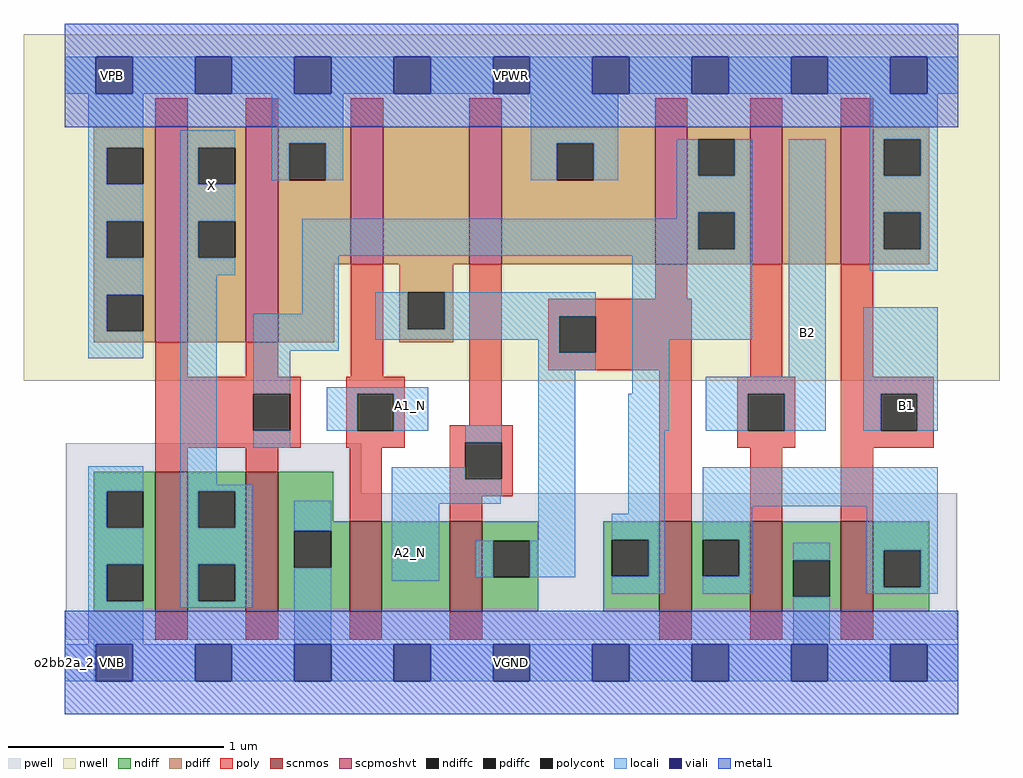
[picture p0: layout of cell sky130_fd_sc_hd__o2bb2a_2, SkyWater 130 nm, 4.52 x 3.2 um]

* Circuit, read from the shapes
.subckt sky130_fd_sc_hd__o2bb2a_2 A1_N A2_N B1 B2 VGND VNB VPB VPWR X
XM1 X n1 VGND VNB sky130_fd_pr__nfet_01v8 w=0.65 l=0.15 m=2
XM2 n2 A1_N VGND VNB sky130_fd_pr__nfet_01v8 w=0.42 l=0.15
XM3 n3 A2_N n2 VNB sky130_fd_pr__nfet_01v8 w=0.42 l=0.15
XM4 n4 n3 n1 VNB sky130_fd_pr__nfet_01v8 w=0.42 l=0.15
XM5 VGND B2 n4 VNB sky130_fd_pr__nfet_01v8 w=0.42 l=0.15
XM6 n4 B1 VGND VNB sky130_fd_pr__nfet_01v8 w=0.42 l=0.15
XM7 X n1 VPWR VPB sky130_fd_pr__pfet_01v8_hvt w=1 l=0.15 m=2
XM8 n3 A1_N VPWR VPB sky130_fd_pr__pfet_01v8_hvt w=0.64 l=0.15
XM9 VPWR A2_N n3 VPB sky130_fd_pr__pfet_01v8_hvt w=0.64 l=0.15
XM10 n1 n3 VPWR VPB sky130_fd_pr__pfet_01v8_hvt w=0.64 l=0.15
XM11 n5 B2 n1 VPB sky130_fd_pr__pfet_01v8_hvt w=0.64 l=0.15
XM12 VPWR B1 n5 VPB sky130_fd_pr__pfet_01v8_hvt w=0.64 l=0.15
.ends

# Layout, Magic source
magic
tech sky130B
magscale 1 2
<< nwell >>
rect -38 261 866 582
<< pwell >>
rect 1 157 275 203
rect 1 21 827 157
rect 27 -17 61 21
<< scnmos >>
rect 84 47 114 177
rect 168 47 198 177
rect 264 47 294 131
rect 357 47 387 131
rect 551 47 581 131
rect 635 47 665 131
rect 719 47 749 131
<< scpmoshvt >>
rect 84 297 114 497
rect 168 297 198 497
rect 265 369 295 497
rect 375 369 405 497
rect 547 369 577 497
rect 635 369 665 497
rect 719 369 749 497
<< ndiff >>
rect 27 159 84 177
rect 27 125 39 159
rect 73 125 84 159
rect 27 91 84 125
rect 27 57 39 91
rect 73 57 84 91
rect 27 47 84 57
rect 114 159 168 177
rect 114 125 124 159
rect 158 125 168 159
rect 114 91 168 125
rect 114 57 124 91
rect 158 57 168 91
rect 114 47 168 57
rect 198 131 249 177
rect 198 122 264 131
rect 198 88 213 122
rect 247 88 264 122
rect 198 47 264 88
rect 294 47 357 131
rect 387 113 439 131
rect 387 79 397 113
rect 431 79 439 113
rect 387 47 439 79
rect 499 114 551 131
rect 499 80 507 114
rect 541 80 551 114
rect 499 47 551 80
rect 581 114 635 131
rect 581 80 591 114
rect 625 80 635 114
rect 581 47 635 80
rect 665 95 719 131
rect 665 61 675 95
rect 709 61 719 95
rect 665 47 719 61
rect 749 104 801 131
rect 749 70 759 104
rect 793 70 801 104
rect 749 47 801 70
<< pdiff >>
rect 27 477 84 497
rect 27 443 39 477
rect 73 443 84 477
rect 27 409 84 443
rect 27 375 39 409
rect 73 375 84 409
rect 27 341 84 375
rect 27 307 39 341
rect 73 307 84 341
rect 27 297 84 307
rect 114 477 168 497
rect 114 443 124 477
rect 158 443 168 477
rect 114 409 168 443
rect 114 375 124 409
rect 158 375 168 409
rect 114 297 168 375
rect 198 481 265 497
rect 198 447 208 481
rect 242 447 265 481
rect 198 369 265 447
rect 295 369 375 497
rect 405 481 547 497
rect 405 447 456 481
rect 490 447 547 481
rect 405 369 547 447
rect 577 485 635 497
rect 577 451 587 485
rect 621 451 635 485
rect 577 417 635 451
rect 577 383 587 417
rect 621 383 635 417
rect 577 369 635 383
rect 665 369 719 497
rect 749 485 801 497
rect 749 451 759 485
rect 793 451 801 485
rect 749 417 801 451
rect 749 383 759 417
rect 793 383 801 417
rect 749 369 801 383
rect 198 297 250 369
rect 310 343 360 369
rect 310 309 318 343
rect 352 309 360 343
rect 310 297 360 309
<< ndiffc >>
rect 39 125 73 159
rect 39 57 73 91
rect 124 125 158 159
rect 124 57 158 91
rect 213 88 247 122
rect 397 79 431 113
rect 507 80 541 114
rect 591 80 625 114
rect 675 61 709 95
rect 759 70 793 104
<< pdiffc >>
rect 39 443 73 477
rect 39 375 73 409
rect 39 307 73 341
rect 124 443 158 477
rect 124 375 158 409
rect 208 447 242 481
rect 456 447 490 481
rect 587 451 621 485
rect 587 383 621 417
rect 759 451 793 485
rect 759 383 793 417
rect 318 309 352 343
<< poly >>
rect 84 497 114 523
rect 168 497 198 523
rect 265 497 295 523
rect 375 497 405 523
rect 547 497 577 523
rect 635 497 665 523
rect 719 497 749 523
rect 84 265 114 297
rect 168 265 198 297
rect 265 265 295 369
rect 84 249 219 265
rect 84 215 175 249
rect 209 215 219 249
rect 84 199 219 215
rect 261 249 315 265
rect 261 215 271 249
rect 305 215 315 249
rect 375 220 405 369
rect 547 337 577 369
rect 448 321 581 337
rect 448 287 458 321
rect 492 287 581 321
rect 448 271 581 287
rect 261 199 315 215
rect 357 204 415 220
rect 84 177 114 199
rect 168 177 198 199
rect 264 131 294 199
rect 357 170 371 204
rect 405 170 415 204
rect 357 154 415 170
rect 357 131 387 154
rect 551 131 581 271
rect 635 265 665 369
rect 719 265 749 369
rect 623 249 677 265
rect 623 215 633 249
rect 667 215 677 249
rect 623 199 677 215
rect 719 249 805 265
rect 719 215 756 249
rect 790 215 805 249
rect 719 199 805 215
rect 635 131 665 199
rect 719 131 749 199
rect 84 21 114 47
rect 168 21 198 47
rect 264 21 294 47
rect 357 21 387 47
rect 551 21 581 47
rect 635 21 665 47
rect 719 21 749 47
<< polycont >>
rect 175 215 209 249
rect 271 215 305 249
rect 458 287 492 321
rect 371 170 405 204
rect 633 215 667 249
rect 756 215 790 249
<< locali >>
rect 0 527 29 561
rect 63 527 121 561
rect 155 527 213 561
rect 247 527 305 561
rect 339 527 397 561
rect 431 527 489 561
rect 523 527 581 561
rect 615 527 673 561
rect 707 527 765 561
rect 799 527 828 561
rect 22 477 73 527
rect 22 443 39 477
rect 22 409 73 443
rect 22 375 39 409
rect 22 341 73 375
rect 22 307 39 341
rect 22 282 73 307
rect 107 477 158 493
rect 107 443 124 477
rect 192 481 258 527
rect 192 447 208 481
rect 242 447 258 481
rect 432 481 513 527
rect 746 485 809 527
rect 432 447 456 481
rect 490 447 513 481
rect 567 451 587 485
rect 621 451 637 485
rect 107 409 158 443
rect 567 417 637 451
rect 567 411 587 417
rect 107 375 124 409
rect 107 359 158 375
rect 220 383 587 411
rect 621 383 637 417
rect 220 377 637 383
rect 22 159 73 182
rect 22 125 39 159
rect 22 91 73 125
rect 22 57 39 91
rect 22 17 73 57
rect 107 165 141 359
rect 220 323 254 377
rect 175 289 254 323
rect 288 309 318 343
rect 352 321 492 343
rect 352 309 458 321
rect 288 299 458 309
rect 175 249 209 289
rect 439 287 458 299
rect 439 271 492 287
rect 526 299 637 377
rect 243 249 337 255
rect 243 215 271 249
rect 305 215 337 249
rect 175 199 209 215
rect 371 204 405 220
rect 303 170 371 181
rect 107 159 174 165
rect 107 125 124 159
rect 158 125 174 159
rect 303 154 405 170
rect 107 91 174 125
rect 107 57 124 91
rect 158 57 174 91
rect 107 51 174 57
rect 213 122 247 150
rect 213 17 247 88
rect 303 147 404 154
rect 303 76 347 147
rect 439 113 473 271
rect 526 249 560 299
rect 671 265 705 485
rect 746 451 759 485
rect 793 451 809 485
rect 746 417 809 451
rect 746 383 759 417
rect 793 383 809 417
rect 746 363 809 383
rect 522 215 560 249
rect 594 249 705 265
rect 594 215 633 249
rect 667 215 705 249
rect 740 249 809 329
rect 740 215 756 249
rect 790 215 809 249
rect 522 138 556 215
rect 381 79 397 113
rect 431 79 473 113
rect 507 114 556 138
rect 541 80 556 114
rect 507 64 556 80
rect 591 145 809 181
rect 591 114 637 145
rect 625 80 637 114
rect 591 64 637 80
rect 675 95 709 111
rect 743 104 809 145
rect 743 70 759 104
rect 793 70 809 104
rect 743 64 809 70
rect 675 17 709 61
rect 0 -17 29 17
rect 63 -17 121 17
rect 155 -17 213 17
rect 247 -17 305 17
rect 339 -17 397 17
rect 431 -17 489 17
rect 523 -17 581 17
rect 615 -17 673 17
rect 707 -17 765 17
rect 799 -17 828 17
<< viali >>
rect 29 527 63 561
rect 121 527 155 561
rect 213 527 247 561
rect 305 527 339 561
rect 397 527 431 561
rect 489 527 523 561
rect 581 527 615 561
rect 673 527 707 561
rect 765 527 799 561
rect 29 -17 63 17
rect 121 -17 155 17
rect 213 -17 247 17
rect 305 -17 339 17
rect 397 -17 431 17
rect 489 -17 523 17
rect 581 -17 615 17
rect 673 -17 707 17
rect 765 -17 799 17
<< metal1 >>
rect 0 561 828 592
rect 0 527 29 561
rect 63 527 121 561
rect 155 527 213 561
rect 247 527 305 561
rect 339 527 397 561
rect 431 527 489 561
rect 523 527 581 561
rect 615 527 673 561
rect 707 527 765 561
rect 799 527 828 561
rect 0 496 828 527
rect 0 17 828 48
rect 0 -17 29 17
rect 63 -17 121 17
rect 155 -17 213 17
rect 247 -17 305 17
rect 339 -17 397 17
rect 431 -17 489 17
rect 523 -17 581 17
rect 615 -17 673 17
rect 707 -17 765 17
rect 799 -17 828 17
rect 0 -48 828 -17
<< labels >>
flabel locali s 303 221 337 255 0 FreeSans 400 0 0 0 A1_N
port 1 nsew signal input
flabel locali s 119 425 153 459 0 FreeSans 400 0 0 0 X
port 9 nsew signal output
flabel locali s 303 85 337 119 0 FreeSans 400 0 0 0 A2_N
port 2 nsew signal input
flabel locali s 671 289 705 323 0 FreeSans 400 0 0 0 B2
port 4 nsew signal input
flabel locali s 763 221 797 255 0 FreeSans 400 0 0 0 B1
port 3 nsew signal input
flabel pwell s 27 -17 61 17 0 FreeSans 200 0 0 0 VNB
port 6 nsew ground bidirectional
flabel nwell s 27 527 61 561 0 FreeSans 200 0 0 0 VPB
port 7 nsew power bidirectional
flabel metal1 s 27 -17 61 17 0 FreeSans 200 0 0 0 VGND
port 5 nsew ground bidirectional abutment
flabel metal1 s 27 527 61 561 0 FreeSans 200 0 0 0 VPWR
port 8 nsew power bidirectional abutment
rlabel comment s 0 0 0 0 4 o2bb2a_2
rlabel metal1 s 0 -48 828 48 1 VGND
port 5 nsew ground bidirectional abutment
rlabel metal1 s 0 496 828 592 1 VPWR
port 8 nsew power bidirectional abutment
<< properties >>
string FIXED_BBOX 0 0 828 544
string GDS_END 1219248
string GDS_FILE $PDKPATH/libs.ref/sky130_fd_sc_hd/gds/sky130_fd_sc_hd.gds
string GDS_START 1212200
string LEFclass CORE
string LEFsite unithd
string LEFsymmetry X Y R90
string path 0.000 0.000 4.140 0.000 
<< end >>
